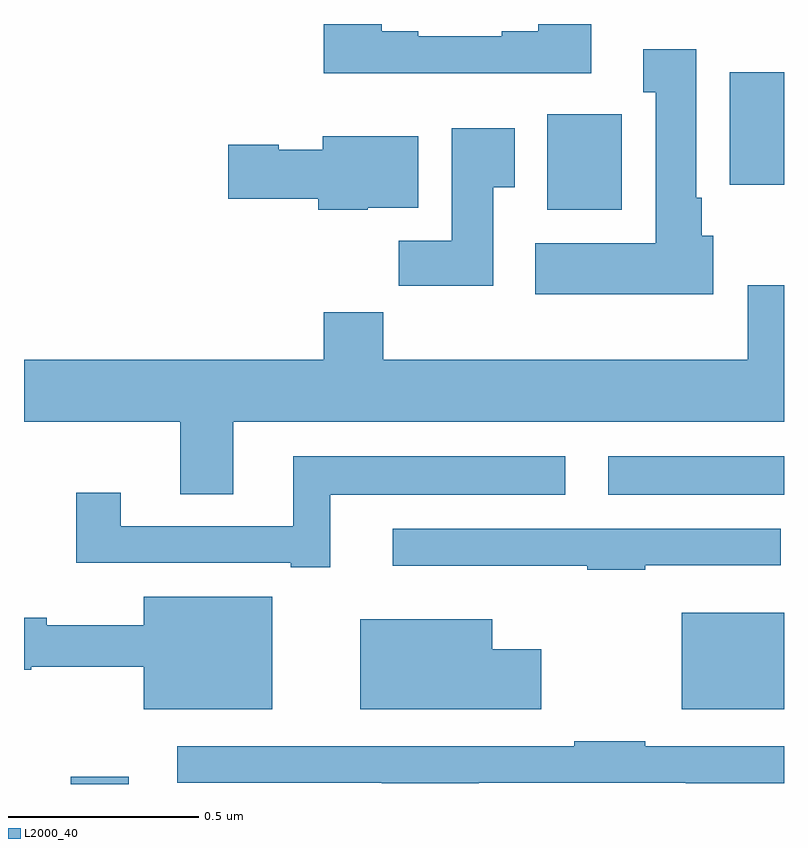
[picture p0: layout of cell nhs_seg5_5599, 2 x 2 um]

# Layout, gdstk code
import gdstk
lib = gdstk.Library(unit=1e-6, precision=1e-09)
def R(c, l, rs):  # rectangles x0, y0, x1, y1
    for r in rs: c.add(gdstk.rectangle(r[:2], r[2:], *l))
def P(c, l, *ps):  # polygons
    for p in ps: c.add(gdstk.Polygon(p, *l))
L2000_40 = (2000, 40)

nhs_seg5_5599 = lib.new_cell('nhs_seg5_5599')
R(nhs_seg5_5599, L2000_40, [(185.123,863.799,185.275,863.818), (186.731,863.996,187,864.25), (186.537,864.56,187,864.661), (186.377,865.31,186.573,865.561), (186.857,865.376,187,865.672)])
P(nhs_seg5_5599, L2000_40, [(186.493,865.799),(186.353,865.799),(186.353,865.78),(186.257,865.78),(186.257,865.767),(186.037,865.767),(186.037,865.78),(185.941,865.78),(185.941,865.799),(185.789,865.799),(185.789,865.67),(186.493,865.67)],
  [(186.814,865.242),(186.784,865.242),(186.784,865.342),(186.769,865.342),(186.769,865.732),(186.629,865.732),(186.629,865.619),(186.662,865.619),(186.662,865.222),(186.345,865.222),(186.345,865.088),(186.814,865.088)],
  [(186.235,865.369),(186.292,865.369),(186.292,865.525),(186.125,865.525),(186.125,865.228),(185.986,865.228),(185.986,865.11),(186.235,865.11)],
  [(185.904,865.316),(186.037,865.316),(186.037,865.504),(185.786,865.504),(185.786,865.468),(185.67,865.468),(185.67,865.481),(185.538,865.481),(185.538,865.339),(185.774,865.339),(185.774,865.31),(185.904,865.31)],
  [(185.551,864.752),(187,864.752),(187,865.111),(186.905,865.111),(186.905,864.916),(185.945,864.916),(185.945,865.04),(185.789,865.04),(185.789,864.916),(185,864.916),(185,864.752),(185.411,864.752),(185.411,864.562),(185.551,864.562)],
  [(185.806,864.56),(186.424,864.56),(186.424,864.661),(185.708,864.661),(185.708,864.477),(185.254,864.477),(185.254,864.565),(185.137,864.565),(185.137,864.381),(185.702,864.381),(185.702,864.369),(185.806,864.369)],
  [(186.635,864.375),(186.991,864.375),(186.991,864.471),(185.97,864.471),(185.97,864.374),(186.328,864.374),(186.328,864.373),(186.482,864.373),(186.482,864.363),(186.635,864.363)],
  [(185.653,864.292),(185.315,864.292),(185.315,864.217),(185.06,864.217),(185.06,864.236),(185,864.236),(185,864.1),(185.019,864.1),(185.019,864.108),(185.315,864.108),(185.315,863.996),(185.653,863.996)],
  [(186.361,864.154),(186.232,864.154),(186.232,864.232),(185.885,864.232),(185.885,863.996),(186.361,863.996)],
  [(186.197,863.802),(186.742,863.802),(186.742,863.801),(187,863.801),(187,863.898),(186.635,863.898),(186.635,863.911),(186.448,863.911),(186.448,863.898),(185.403,863.898),(185.403,863.802),(185.941,863.802),(185.941,863.801),(186.197,863.801)])

lib.write_gds('nhs_seg5_5599.gds')
